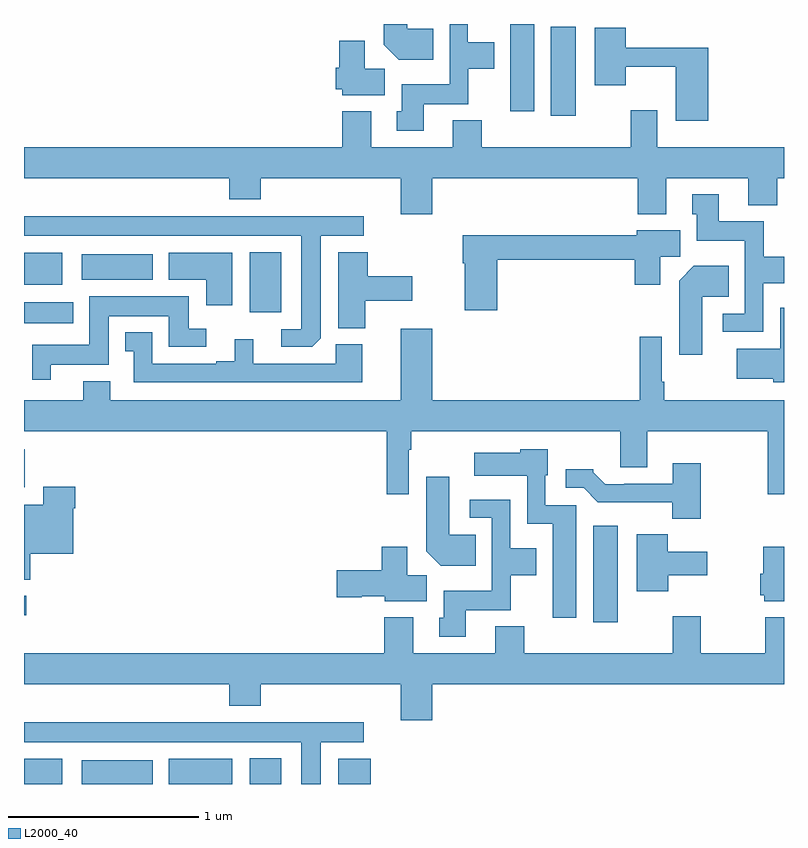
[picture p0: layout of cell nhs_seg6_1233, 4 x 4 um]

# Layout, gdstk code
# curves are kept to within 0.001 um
import gdstk
lib = gdstk.Library(unit=1e-6, precision=1e-09)
def R(c, l, rs):  # rectangles x0, y0, x1, y1
    for r in rs: c.add(gdstk.rectangle(r[:2], r[2:], *l))
def P(c, l, *ps):  # polygons
    for p in ps: c.add(gdstk.Polygon(p, *l))
L2000_40 = (2000, 40)

nhs_seg6_1233 = lib.new_cell('nhs_seg6_1233')
R(nhs_seg6_1233, L2000_40, [(187,925.5,187.201,925.633), (187.305,925.5,187.678,925.624), (187.763,925.5,188.095,925.633), (188.189,925.5,188.353,925.636), (188.654,925.5,188.825,925.633), (189.995,926.352,190.126,926.86), (187,926.387,187.012,926.491), (187,927.062,187.003,927.261), (187,927.926,187.258,928.036), (188.189,927.984,188.353,928.3), (187,928.127,187.201,928.297), (187.305,928.154,187.678,928.288), (189.773,929.016,189.904,929.485), (189.56,929.04,189.685,929.5)])
P(nhs_seg6_1233, L2000_40, [(189.155,929.476),(189.016,929.476),(189.016,929.5),(188.894,929.5),(188.894,929.39),(188.972,929.312),(189.155,929.312)],
  [(189.103,929.078),(189.339,929.078),(189.339,929.264),(189.475,929.264),(189.475,929.404),(189.336,929.404),(189.336,929.5),(189.24,929.5),(189.24,929.182),(188.987,929.182),(188.987,929.04),(188.963,929.04),(188.963,928.938),(189.103,928.938)],
  [(190.601,929.375),(190.166,929.375),(190.166,929.479),(190.004,929.479),(190.004,929.178),(190.168,929.178),(190.168,929.275),(190.43,929.275),(190.43,928.992),(190.601,928.992)],
  [(188.899,929.264),(188.794,929.264),(188.794,929.413),(188.66,929.413),(188.66,929.271),(188.642,929.271),(188.642,929.157),(188.676,929.157),(188.676,929.126),(188.899,929.126)],
  [(190.381,928.688),(190.811,928.688),(190.811,928.547),(190.964,928.547),(190.964,928.688),(191,928.688),(191,928.852),(190.333,928.852),(190.333,929.047),(190.193,929.047),(190.193,928.852),(189.41,928.852),(189.41,928.993),(189.257,928.993),(189.257,928.852),(188.827,928.852),(188.827,929.041),(188.675,929.041),(188.675,928.852),(187,928.852),(187,928.688),(188.081,928.688),(188.081,928.577),(188.246,928.577),(188.246,928.688),(188.984,928.688),(188.984,928.5),(189.148,928.5),(189.148,928.688),(190.229,928.688),(190.229,928.499),(190.381,928.499)],
  [(190.89,928.136),(191,928.136),(191,928.276),(190.893,928.276),(190.893,928.462),(190.657,928.462),(190.657,928.603),(190.517,928.603),(190.517,928.5),(190.541,928.5),(190.541,928.358),(190.794,928.358),(190.794,927.975),(190.677,927.975),(190.677,927.879),(190.89,927.879)],
  [(188.562,927.847),(188.563,928.385),(188.788,928.385),(188.788,928.489),(187,928.489),(187,928.385),(188.459,928.385),(188.459,927.894),(188.355,927.894),(188.355,927.801),(188.516,927.801)],
  [(189.491,928.258),(190.214,928.258),(190.214,928.128),(190.348,928.128),(190.348,928.276),(190.453,928.276),(190.453,928.414),(190.226,928.414),(190.226,928.387),(189.308,928.387),(189.308,928.241),(189.32,928.241),(189.32,927.993),(189.491,927.993)],
  [(188.797,928.043),(189.043,928.043),(189.043,928.173),(188.81,928.173),(188.81,928.3),(188.654,928.3),(188.654,927.899),(188.797,927.899)],
  [(188.095,928.297),(187.763,928.297),(187.763,928.154),(187.958,928.154),(187.958,928.02),(188.095,928.02)],
  [(190.57,928.064),(190.709,928.064),(190.709,928.228),(190.526,928.228),(190.448,928.15),(190.448,927.759),(190.57,927.759)],
  [(187.141,927.707),(187.447,927.707),(187.447,927.962),(187.763,927.962),(187.763,927.801),(187.96,927.801),(187.96,927.897),(187.867,927.897),(187.867,928.066),(187.343,928.066),(187.343,927.811),(187.043,927.811),(187.043,927.627),(187.141,927.627)],
  [(191,928.006),(190.98,928.006),(190.98,927.79),(190.752,927.79),(190.752,927.632),(190.944,927.632),(190.944,927.614),(191,927.614)],
  [(189.024,927.26),(189.037,927.26),(189.037,927.356),(190.139,927.356),(190.139,927.166),(190.279,927.166),(190.279,927.356),(190.914,927.356),(190.914,927.024),(191,927.024),(191,927.52),(190.369,927.52),(190.369,927.616),(190.356,927.616),(190.356,927.853),(190.24,927.853),(190.24,927.52),(189.148,927.52),(189.148,927.895),(188.984,927.895),(188.984,927.52),(187.453,927.52),(187.453,927.619),(187.313,927.619),(187.313,927.52),(187,927.52),(187,927.356),(188.908,927.356),(188.908,927.024),(189.024,927.024)],
  [(188.779,927.814),(188.64,927.814),(188.64,927.711),(188.206,927.711),(188.206,927.841),(188.108,927.841),(188.108,927.724),(188.012,927.724),(188.012,927.711),(187.674,927.711),(187.674,927.877),(187.532,927.877),(187.532,927.777),(187.578,927.777),(187.578,927.615),(188.779,927.615)],
  [(189.907,926.967),(189.744,926.967),(189.744,927.126),(189.757,927.126),(189.757,927.262),(189.612,927.262),(189.612,927.244),(189.369,927.244),(189.369,927.122),(189.648,927.122),(189.648,926.87),(189.782,926.87),(189.782,926.376),(189.907,926.376)],
  [(190.563,927.187),(190.415,927.187),(190.415,927.081),(190.159,927.081),(190.159,927.078),(190.06,927.078),(189.996,927.142),(189.996,927.157),(189.852,927.157),(189.852,927.06),(189.945,927.06),(190.021,926.984),(190.413,926.984),(190.413,926.897),(190.563,926.897)],
  [(189.377,926.812),(189.238,926.812),(189.238,927.118),(189.116,927.118),(189.116,926.726),(189.194,926.648),(189.377,926.648)],
  [(187.034,926.711),(187.258,926.711),(187.258,926.951),(187.271,926.951),(187.271,927.064),(187.1,927.064),(187.1,926.971),(187,926.971),(187,926.576),(187.034,926.576)],
  [(189.325,926.414),(189.561,926.414),(189.561,926.6),(189.697,926.6),(189.697,926.74),(189.558,926.74),(189.558,926.997),(189.345,926.997),(189.345,926.901),(189.462,926.901),(189.462,926.518),(189.209,926.518),(189.209,926.376),(189.185,926.376),(189.185,926.274),(189.325,926.274)],
  [(190.39,926.6),(190.597,926.6),(190.597,926.722),(190.388,926.722),(190.388,926.815),(190.226,926.815),(190.226,926.514),(190.39,926.514)],
  [(189.121,926.6),(189.016,926.6),(189.016,926.749),(188.882,926.749),(188.882,926.624),(188.646,926.624),(188.646,926.482),(188.778,926.482),(188.778,926.489),(188.898,926.489),(188.898,926.462),(189.121,926.462)],
  [(191,926.749),(190.892,926.749),(190.892,926.607),(190.874,926.607),(190.874,926.493),(190.896,926.493),(190.896,926.462),(191,926.462)],
  [(189.148,926.024),(191,926.024),(191,926.377),(190.9,926.377),(190.9,926.188),(190.563,926.188),(190.563,926.383),(190.415,926.383),(190.415,926.188),(189.632,926.188),(189.632,926.329),(189.479,926.329),(189.479,926.188),(189.049,926.188),(189.049,926.377),(188.897,926.377),(188.897,926.188),(187,926.188),(187,926.024),(188.081,926.024),(188.081,925.913),(188.246,925.913),(188.246,926.024),(188.984,926.024),(188.984,925.836),(189.148,925.836)],
  [(188.563,925.721),(188.788,925.721),(188.788,925.825),(187,925.825),(187,925.721),(188.459,925.721),(188.459,925.5),(188.563,925.5)])

lib.write_gds('nhs_seg6_1233.gds')
